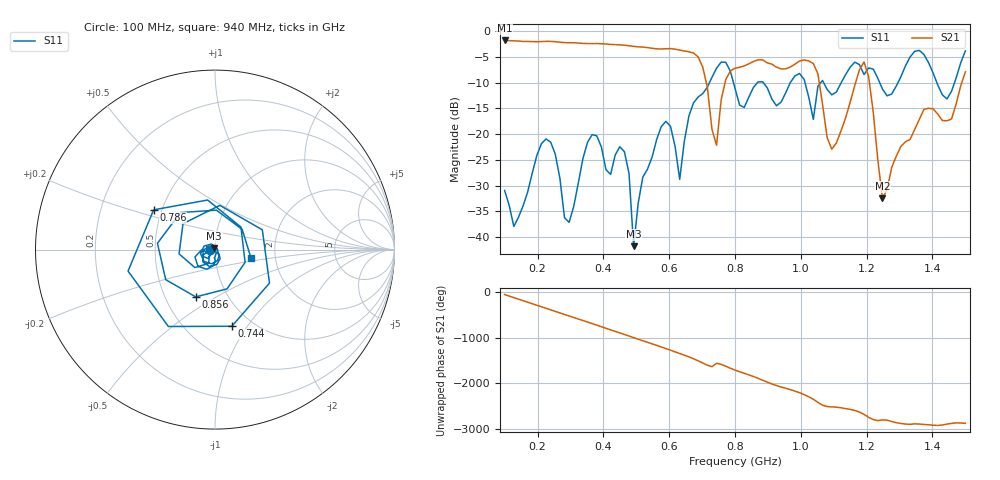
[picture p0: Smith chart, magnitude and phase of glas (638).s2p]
! NanoVNA-App
! Date: 2025-09-25 16:00:26
! Start: 100MHz Stop: 1,5GHz Points: 101
! S-Parameter data: F S11 S21 S12 S22
# Hz S RI R 50
!  Frequency  S11_Real  S11_Imag  S21_Real  S21_Imag  S12_Real  S12_Imag  S22_Real  S22_Imag
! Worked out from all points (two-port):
!   101 points, 100 MHz to 1.5 GHz, reference 50 ohm
!   highest |S21| = -1.80 dB at 100 MHz (marker M1); lowest = -32.4 dB at 1.248 GHz (marker M2)
!   |S21| within 3 dB of the highest: start of sweep to 684.5 MHz
!   lowest |S11| = -41.7 dB at 492 MHz (marker M3), VSWR 1.02, Z = 49.5 + j0.617 ohm
!   |S11| at or under -10 dB: start of sweep to 722.4 MHz; 795.4 MHz to 868.1 MHz (72.68 MHz wide, 8.74 % of centre); 886.1 MHz to 967.9 MHz (81.78 MHz wide, 8.82 % of centre) (the widest 3 of 7)
!   S12 and S22 are empty: the file has one direction only
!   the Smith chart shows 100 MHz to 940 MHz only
!   S11 on the Smith chart (normalised r, x): 100 MHz: 0.95, -0.01; 744 MHz: 0.81, -0.85; 786 MHz: 0.45, +0.24; 856 MHz: 0.71, -0.41; 940 MHz: 1.49, -0.14
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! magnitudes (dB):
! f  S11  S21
! 100 MHz  -30.9  -1.8
! 128 MHz  -37.9  -1.9
! 226 MHz  -20.9  -2.0
! 296 MHz  -37.1  -2.2
! 338 MHz  -24.7  -2.4
! 464 MHz  -23.4  -2.7
! 492 MHz  -41.7  -2.9
! 576 MHz  -18.5  -3.5
! 632 MHz  -28.8  -3.7
! 702 MHz  -12.1  -7.0
! 744 MHz  -7.2  -22.1
! 786 MHz  -7.8  -7.7
! 800 MHz  -11.1  -7.2
! 856 MHz  -10.9  -5.9
! 940 MHz  -13.8  -7.3
! 996 MHz  -8.2  -5.8
! 1.038 GHz  -17.1  -6.3
! 1.094 GHz  -12.4  -22.9
! 1.192 GHz  -8.4  -6.0
! 1.248 GHz  -11.3  -32.4
! 1.276 GHz  -12.2  -26.5
! 1.5 GHz  -3.8  -7.9
